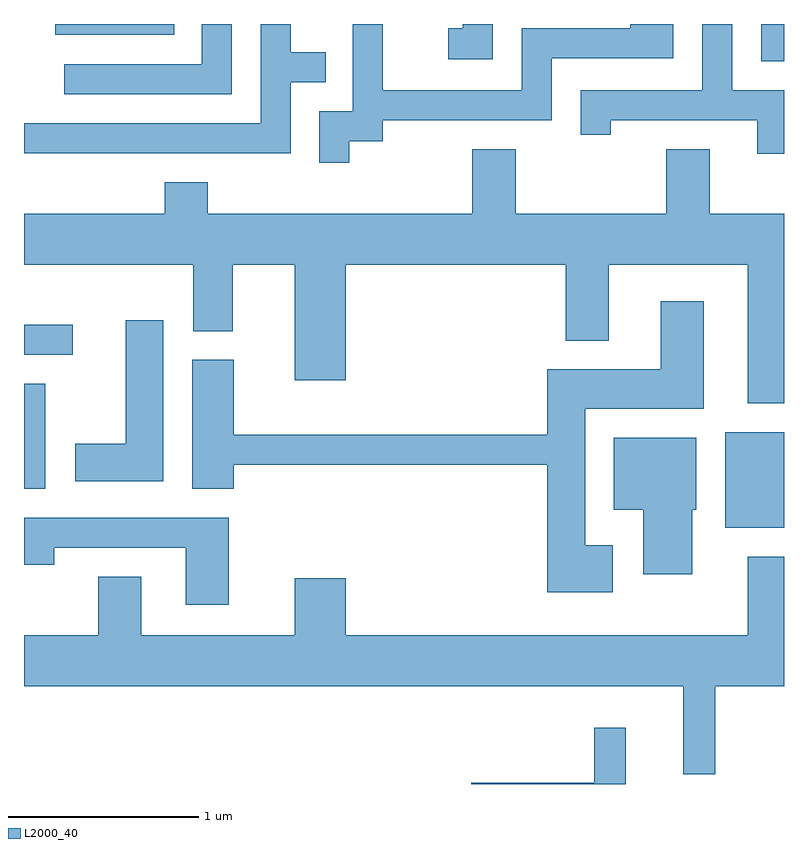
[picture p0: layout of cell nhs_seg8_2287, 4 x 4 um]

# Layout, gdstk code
import gdstk
lib = gdstk.Library(unit=1e-6, precision=1e-09)
def R(c, l, rs):  # rectangles x0, y0, x1, y1
    for r in rs: c.add(gdstk.rectangle(r[:2], r[2:], *l))
def P(c, l, *ps):  # polygons
    for p in ps: c.add(gdstk.Polygon(p, *l))
L2000_40 = (2000, 40)

nhs_seg8_2287 = lib.new_cell('nhs_seg8_2287')
R(nhs_seg8_2287, L2000_40, [(257.301,1841.691,257.611,1842.194), (253.611,1841.896,253.724,1842.449), (253.611,1842.601,253.868,1842.759), (257.491,1844.146,257.611,1844.342), (253.776,1844.286,254.403,1844.342)])
P(nhs_seg8_2287, L2000_40, [(255.324,1843.726),(255.499,1843.726),(255.499,1843.836),(256.389,1843.836),(256.389,1844.161),(257.029,1844.161),(257.029,1844.342),(256.801,1844.342),(256.801,1844.319),(256.231,1844.319),(256.231,1843.994),(255.499,1843.994),(255.499,1844.342),(255.341,1844.342),(255.341,1843.884),(255.166,1843.884),(255.166,1843.613),(255.324,1843.613)],
  [(254.704,1844.342),(254.546,1844.342),(254.546,1844.129),(253.823,1844.129),(253.823,1843.971),(254.704,1843.971)],
  [(257.611,1843.994),(257.339,1843.994),(257.339,1844.342),(257.181,1844.342),(257.181,1843.994),(256.541,1843.994),(256.541,1843.758),(256.699,1843.758),(256.699,1843.836),(257.471,1843.836),(257.471,1843.658),(257.611,1843.658)],
  [(256.079,1844.342),(255.921,1844.342),(255.921,1844.319),(255.843,1844.319),(255.843,1844.156),(256.079,1844.156)],
  [(255.014,1844.036),(255.198,1844.036),(255.198,1844.194),(255.014,1844.194),(255.014,1844.342),(254.856,1844.342),(254.856,1843.819),(253.611,1843.819),(253.611,1843.661),(255.014,1843.661)],
  [(256.199,1843.684),(255.971,1843.684),(255.971,1843.344),(254.579,1843.344),(254.579,1843.509),(254.351,1843.509),(254.351,1843.344),(253.611,1843.344),(253.611,1843.076),(254.501,1843.076),(254.501,1842.726),(254.709,1842.726),(254.709,1843.076),(255.036,1843.076),(255.036,1842.466),(255.304,1842.466),(255.304,1843.076),(256.461,1843.076),(256.461,1842.676),(256.689,1842.676),(256.689,1843.076),(257.421,1843.076),(257.421,1842.346),(257.611,1842.346),(257.611,1843.344),(257.219,1843.344),(257.219,1843.684),(256.991,1843.684),(256.991,1843.344),(256.199,1843.344)],
  [(256.709,1841.599),(256.564,1841.599),(256.564,1842.316),(257.189,1842.316),(257.189,1842.884),(256.961,1842.884),(256.961,1842.524),(256.366,1842.524),(256.366,1842.179),(254.714,1842.179),(254.714,1842.574),(254.496,1842.574),(254.496,1841.896),(254.714,1841.896),(254.714,1842.021),(256.366,1842.021),(256.366,1841.351),(256.709,1841.351)],
  [(254.344,1842.784),(254.146,1842.784),(254.146,1842.134),(253.881,1842.134),(253.881,1841.936),(254.344,1841.936)],
  [(257.129,1841.786),(257.149,1841.786),(257.149,1842.164),(256.716,1842.164),(256.716,1841.786),(256.871,1841.786),(256.871,1841.446),(257.129,1841.446)],
  [(254.689,1841.744),(253.611,1841.744),(253.611,1841.496),(253.769,1841.496),(253.769,1841.586),(254.461,1841.586),(254.461,1841.286),(254.689,1841.286)],
  [(257.249,1840.856),(257.611,1840.856),(257.611,1841.539),(257.421,1841.539),(257.421,1841.124),(255.304,1841.124),(255.304,1841.424),(255.036,1841.424),(255.036,1841.124),(254.229,1841.124),(254.229,1841.434),(254.001,1841.434),(254.001,1841.124),(253.611,1841.124),(253.611,1840.856),(257.081,1840.856),(257.081,1840.393),(257.249,1840.393)],
  [(256.779,1840.638),(256.611,1840.638),(256.611,1840.349),(255.966,1840.349),(255.966,1840.342),(256.779,1840.342)])

lib.write_gds('nhs_seg8_2287.gds')
